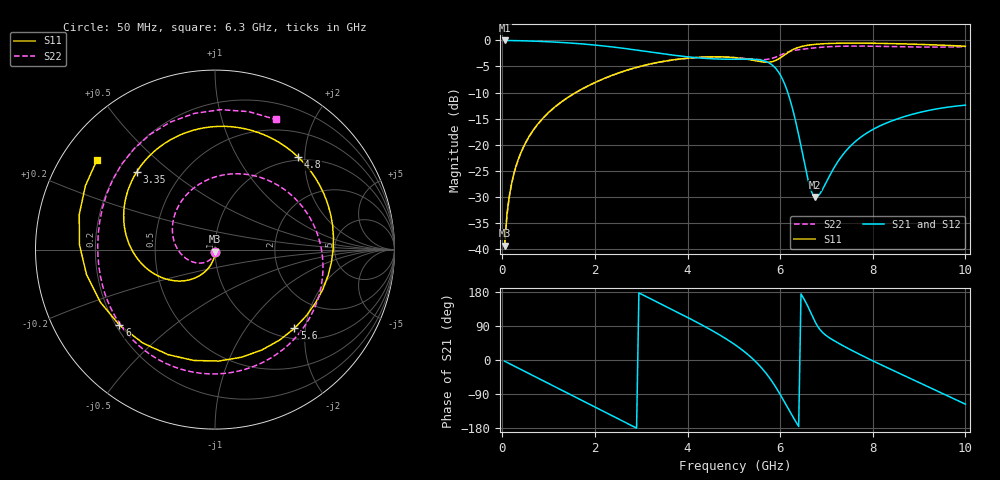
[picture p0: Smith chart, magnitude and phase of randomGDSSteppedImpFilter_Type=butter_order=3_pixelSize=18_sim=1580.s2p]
! freq	dB(S11)	phase(S11)	dB(S12)	phase(S12)
!  dB(S21)	phase(S21)	dB(S22)	phase(S22)
!S-par simulation data
#  GHz  S  DB  R 50
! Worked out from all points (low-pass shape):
!   200 points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, 50 MHz to 10 GHz, reference 50 ohm
!   highest |S21| = -0.02 dB at 50 MHz (marker M1); lowest = -30.0 dB at 6.75 GHz (marker M2)
!   |S21| within 3 dB of the highest: start of sweep to 3.863 GHz
!   lowest |S11| = -39.3 dB at 50 MHz (marker M3), VSWR 1.02, Z = 50.1 - j1.08 ohm
!   |S11| at or under -10 dB: start of sweep to 1.585 GHz
!   |S22| runs from -39.4 to -1.1 dB; largest |S21 - S12| = 0
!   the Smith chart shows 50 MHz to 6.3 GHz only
!   S11 on the Smith chart (normalised r, x): 50 MHz: 1.00, -0.02; 3.35 GHz: 0.28, +0.38; 4.8 GHz: 0.94, +1.87; 5.6 GHz: 1.22, -1.74; 6 GHz: 0.21, -0.33; 6.3 GHz: 0.11, +0.33
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0.05  -39.34 -85.0  -0.02 -3.1  -0.02 -3.1  -39.42 -87.5
0.2  -27.46 -96.1  -0.04 -12.5  -0.04 -12.5  -27.55 -106.2
0.5  -19.65 -108.5  -0.09 -31.0  -0.09 -31.0  -19.73 -133.9
1.15  -12.65 -132.6  -0.33 -71.2  -0.33 -71.2  -12.69 168.7
1.75  -9.18 -154.8  -0.70 -108.4  -0.70 -108.4  -9.20 116.3
2.55  -6.12 172.7  -1.45 -158.2  -1.45 -158.2  -6.14 49.5
3.35  -4.23 135.2  -2.42 152.5  -2.42 152.5  -4.25 -11.0
3.4  -4.15 132.7  -2.48 149.5  -2.48 149.5  -4.17 -14.6
4.15  -3.30 91.7  -3.28 102.9  -3.28 102.9  -3.33 -65.9
4.8  -3.18 47.9  -3.60 58.3  -3.60 58.3  -3.20 -110.4
5.05  -3.33 26.6  -3.61 38.2  -3.61 38.2  -3.32 -128.9
5.6  -4.11 -44.7  -3.81 -20.9  -3.81 -20.9  -3.70 -177.1
5.8  -4.13 -88.0  -4.53 -52.1  -4.53 -52.1  -3.50 159.8
6  -3.37 -141.6  -6.57 -90.8  -6.57 -90.8  -2.85 128.7
6.3  -1.67 142.9  -14.23 -155.0  -14.23 -155.0  -1.94 65.0
6.5  -1.09 106.6  -22.43 164.0  -22.43 164.0  -1.67 21.1
6.7  -0.81 79.6  -29.46 114.7  -29.46 114.7  -1.48 -16.7
6.75  -0.77 73.9  -30.00 101.9  -30.00 101.9  -1.43 -25.1
7.35  -0.53 22.8  -21.94 38.2  -21.94 38.2  -1.12 -99.5
8.35  -0.61 -32.6  -15.63 -22.4  -15.63 -22.4  -1.18 -180.0
9.25  -0.84 -71.6  -13.34 -73.5  -13.34 -73.5  -1.29 112.1
10  -1.12 -102.0  -12.41 -116.5  -12.41 -116.5  -1.21 54.0
